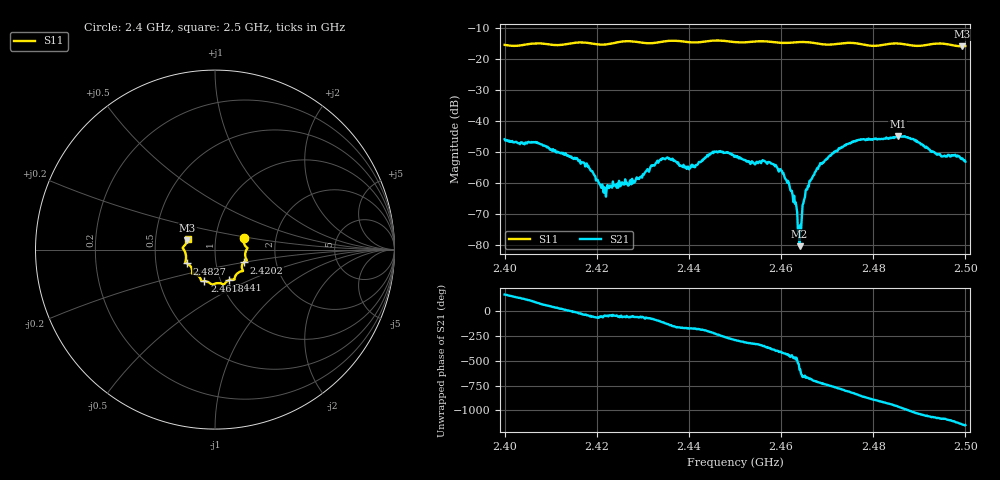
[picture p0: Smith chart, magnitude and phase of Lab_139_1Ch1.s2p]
# Hz S RI R 50
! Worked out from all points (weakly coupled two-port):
!   601 points, 2.4 GHz to 2.5 GHz, reference 50 ohm
!   highest |S21| = -44.72 dB at 2.4853 GHz (marker M1); lowest = -80.3 dB at 2.464 GHz (marker M2)
!   lowest |S11| = -15.8 dB at 2.4993 GHz (marker M3), VSWR 1.39, Z = 36.5 + j3.8 ohm
!   |S11| at or under -10 dB: start of sweep to end of sweep
!   S12 and S22 are empty: the file has one direction only
!   S11 on the Smith chart (normalised r, x): 2.4 GHz: 1.36, +0.18; 2.4202 GHz: 1.36, -0.20; 2.441 GHz: 1.10, -0.39; 2.4618 GHz: 0.84, -0.30; 2.4827 GHz: 0.72, -0.12; 2.5 GHz: 0.73, +0.09
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2.4e9  0.1589 0.0633  -0.00504 0.000949  0 0  0 0
2.407167e9  0.1811 0.0082  0.000436 0.00441  0 0  0 0
2.416667e9  0.1774 -0.0607  0.0019 -0.001  0 0  0 0
2.420167e9  0.1589 -0.0717  0.00048 -0.00103  0 0  0 0
2.422e9  0.1502 -0.0874  0.000431 -0.000427  0 0  0 0
2.427e9  0.1556 -0.1193  0.000468 -0.000818  0 0  0 0
2.433333e9  0.1116 -0.1508  -0.000151 -0.00213  0 0  0 0
2.441e9  0.0789 -0.1698  -0.00191 -0.000273  0 0  0 0
2.4455e9  0.0509 -0.1944  -0.00236 0.00225  0 0  0 0
2.45e9  0.0287 -0.1875  0.000922 0.00262  0 0  0 0
2.458e9  -0.025 -0.1889  0.0019 -0.000802  0 0  0 0
2.461833e9  -0.0591 -0.1755  6.38e-05 -0.000895  0 0  0 0
2.463e9  -0.0681 -0.175  -0.000117 -0.000453  0 0  0 0
2.464e9  -0.0734 -0.1751  -6.35e-05 7.25e-05  0 0  0 0
2.465167e9  -0.0766 -0.1738  0.000186 0.000561  0 0  0 0
2.466667e9  -0.0788 -0.1683  0.000986 0.00064  0 0  0 0
2.474167e9  -0.1256 -0.1343  0.000606 -0.00423  0 0  0 0
2.482667e9  -0.1558 -0.0772  -0.00484 0.00203  0 0  0 0
2.483333e9  -0.1603 -0.0752  -0.00451 0.0026  0 0  0 0
2.485333e9  -0.1658 -0.0702  -0.00287 0.00504  0 0  0 0
2.499333e9  -0.154 0.0508  0.00119 -0.00222  0 0  0 0
2.5e9  -0.1523 0.0603  0.000861 -0.00206  0 0  0 0
